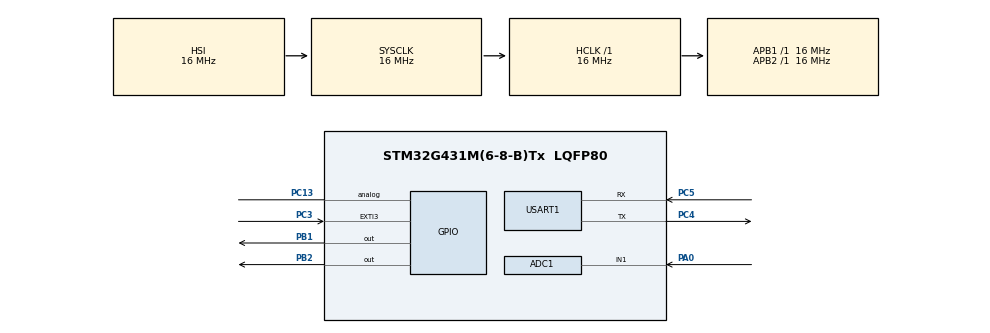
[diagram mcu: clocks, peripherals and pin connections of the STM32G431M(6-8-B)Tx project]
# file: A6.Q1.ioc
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ADC1.Channel-1\#ChannelRegularConversion=ADC_CHANNEL_1
ADC1.NbrOfConversionFlag=1
ADC1.OffsetNumber-1\#ChannelRegularConversion=ADC_OFFSET_NONE
ADC1.Rank-1\#ChannelRegularConversion=1
ADC1.SamplingTime-1\#ChannelRegularConversion=ADC_SAMPLETIME_2CYCLES_5
ADC1.master=1
Mcu.Family=STM32G4
Mcu.Name=STM32G431M(6-8-B)Tx
Mcu.Package=LQFP80
NVIC.PriorityGroup=NVIC_PRIORITYGROUP_4
PA0.Mode=IN1-Single-Ended
PA0.Signal=ADC1_IN1
PA13.Mode=Serial_Wire
PA13.Signal=SYS_JTMS-SWDIO
PA14.Mode=Serial_Wire
PA14.Signal=SYS_JTCK-SWCLK
PB1.PinState=GPIO_PIN_SET
PB1.Signal=GPIO_Output
PB2.PinState=GPIO_PIN_SET
PB2.Signal=GPIO_Output
PC13.Signal=GPIO_Analog
PC3.Signal=GPXTI3
PC4.Mode=Asynchronous
PC4.Signal=USART1_TX
PC5.Mode=Asynchronous
PC5.Signal=USART1_RX
ProjectManager.HeapSize=0x200
ProjectManager.StackSize=0x400
ProjectManager.TargetToolchain=STM32CubeIDE
RCC.AHBFreq_Value=16000000
RCC.APB1Freq_Value=16000000
RCC.APB1TimFreq_Value=16000000
RCC.APB2Freq_Value=16000000
RCC.APB2TimFreq_Value=16000000
RCC.CortexFreq_Value=16000000
RCC.EXTERNAL_CLOCK_VALUE=12288000
RCC.HCLKFreq_Value=16000000
RCC.HSE_VALUE=8000000
RCC.HSI48_VALUE=48000000
RCC.HSI_VALUE=16000000
RCC.LSE_VALUE=32768
RCC.SYSCLKFreq_VALUE=16000000
RCC.USBFreq_Value=64000000
RCC.VCOOutputFreq_Value=128000000
USART1.VirtualMode-Asynchronous=VM_ASYNC
VP_SYS_VS_DBSignals.Mode=DisableDeadBatterySignals
board=custom

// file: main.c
/* USER CODE BEGIN Header */
/**
  ******************************************************************************
  * @file           : main.c
  * @brief          : Main program body
  ******************************************************************************
  * @attention
  *
  * Copyright (c) 2024 STMicroelectronics.
  * All rights reserved.
  *
  * This software is licensed under terms that can be found in the LICENSE file
  * in the root directory of this software component.
  * If no LICENSE file comes with this software, it is provided AS-IS.
  *
  ******************************************************************************
  */
/* USER CODE END Header */
#include "main.h"

ADC_HandleTypeDef hadc1;

UART_HandleTypeDef huart1;

void SystemClock_Config(void);
static void MX_GPIO_Init(void);
static void MX_ADC1_Init(void);
static void MX_USART1_UART_Init(void);

int main(void)
{

  /* MCU Configuration--------------------------------------------------------*/

  /* Reset of all peripherals, Initializes the Flash interface and the Systick. */
  HAL_Init();

  /* Configure the system clock */
  SystemClock_Config();

  /* Initialize all configured peripherals */
  MX_GPIO_Init();
  MX_ADC1_Init();
  MX_USART1_UART_Init();
  /* USER CODE BEGIN 2 */
uint16_t rawDataADC;
uint8_t printBuffer[64];
  /* USER CODE END 2 */

  /* Infinite loop */
  /* USER CODE BEGIN WHILE */
  while (1)
  {
	    HAL_ADC_Start(&hadc1);

	  	HAL_ADC_PollForConversion(&hadc1, 100);

	  	rawDataADC = HAL_ADC_GetValue(&hadc1);

	  	HAL_ADC_Stop(&hadc1);

      	memset(printBuffer,0,sizeof(printBuffer));

	  	sprintf(printBuffer,"\n\rADC Data = %u\n", rawDataADC);

	  	HAL_UART_Transmit(&huart1,(uint8_t *) printBuffer,sizeof(printBuffer), 100);
	  	HAL_Delay(500);

	  	if(rawDataADC < 1000){
	  		HAL_GPIO_WritePin(GPIOB, GPIO_PIN_1, 1);
	  		HAL_GPIO_WritePin(GPIOB, GPIO_PIN_2, 1);
	  	}else if( rawDataADC < 2000){
	  		HAL_GPIO_WritePin(GPIOB, GPIO_PIN_1, 0);
	  		HAL_GPIO_WritePin(GPIOB, GPIO_PIN_2, 1);
	  	}else if( rawDataADC < 3000){
	  		HAL_GPIO_WritePin(GPIOB, GPIO_PIN_1, 1);
	  		HAL_GPIO_WritePin(GPIOB, GPIO_PIN_2, 0);
	  	}else if(rawDataADC > 3000){
	  		HAL_GPIO_WritePin(GPIOB, GPIO_PIN_1, 0);
	  		HAL_GPIO_WritePin(GPIOB, GPIO_PIN_2, 0);
	  	}
    /* USER CODE END WHILE */

  }
}

void SystemClock_Config(void)
{
  RCC_OscInitTypeDef RCC_OscInitStruct = {0};
  RCC_ClkInitTypeDef RCC_ClkInitStruct = {0};

  /** Configure the main internal regulator output voltage
  */
  HAL_PWREx_ControlVoltageScaling(PWR_REGULATOR_VOLTAGE_SCALE1);

  /** Initializes the RCC Oscillators according to the specified parameters
  * in the RCC_OscInitTypeDef structure.
  */
  RCC_OscInitStruct.OscillatorType = RCC_OSCILLATORTYPE_HSI;
  RCC_OscInitStruct.HSIState = RCC_HSI_ON;
  RCC_OscInitStruct.HSICalibrationValue = RCC_HSICALIBRATION_DEFAULT;
  RCC_OscInitStruct.PLL.PLLState = RCC_PLL_NONE;
  if (HAL_RCC_OscConfig(&RCC_OscInitStruct) != HAL_OK)
  {
    Error_Handler();
  }

  /** Initializes the CPU, AHB and APB buses clocks
  */
  RCC_ClkInitStruct.ClockType = RCC_CLOCKTYPE_HCLK|RCC_CLOCKTYPE_SYSCLK
                              |RCC_CLOCKTYPE_PCLK1|RCC_CLOCKTYPE_PCLK2;
  RCC_ClkInitStruct.SYSCLKSource = RCC_SYSCLKSOURCE_HSI;
  RCC_ClkInitStruct.AHBCLKDivider = RCC_SYSCLK_DIV1;
  RCC_ClkInitStruct.APB1CLKDivider = RCC_HCLK_DIV1;
  RCC_ClkInitStruct.APB2CLKDivider = RCC_HCLK_DIV1;

  if (HAL_RCC_ClockConfig(&RCC_ClkInitStruct, FLASH_LATENCY_0) != HAL_OK)
  {
    Error_Handler();
  }
}

static void MX_ADC1_Init(void)
{

  ADC_MultiModeTypeDef multimode = {0};
  ADC_ChannelConfTypeDef sConfig = {0};

  /** Common config
  */
  hadc1.Instance = ADC1;
  hadc1.Init.ClockPrescaler = ADC_CLOCK_SYNC_PCLK_DIV2;
  hadc1.Init.Resolution = ADC_RESOLUTION_12B;
  hadc1.Init.DataAlign = ADC_DATAALIGN_RIGHT;
  hadc1.Init.GainCompensation = 0;
  hadc1.Init.ScanConvMode = ADC_SCAN_DISABLE;
  hadc1.Init.EOCSelection = ADC_EOC_SINGLE_CONV;
  hadc1.Init.LowPowerAutoWait = DISABLE;
  hadc1.Init.ContinuousConvMode = DISABLE;
  hadc1.Init.NbrOfConversion = 1;
  hadc1.Init.DiscontinuousConvMode = DISABLE;
  hadc1.Init.ExternalTrigConv = ADC_SOFTWARE_START;
  hadc1.Init.ExternalTrigConvEdge = ADC_EXTERNALTRIGCONVEDGE_NONE;
  hadc1.Init.DMAContinuousRequests = DISABLE;
  hadc1.Init.Overrun = ADC_OVR_DATA_PRESERVED;
  hadc1.Init.OversamplingMode = DISABLE;
  if (HAL_ADC_Init(&hadc1) != HAL_OK)
  {
    Error_Handler();
  }

  /** Configure the ADC multi-mode
  */
  multimode.Mode = ADC_MODE_INDEPENDENT;
  if (HAL_ADCEx_MultiModeConfigChannel(&hadc1, &multimode) != HAL_OK)
  {
    Error_Handler();
  }

  /** Configure Regular Channel
  */
  sConfig.Channel = ADC_CHANNEL_1;
  sConfig.Rank = ADC_REGULAR_RANK_1;
  sConfig.SamplingTime = ADC_SAMPLETIME_2CYCLES_5;
  sConfig.SingleDiff = ADC_SINGLE_ENDED;
  sConfig.OffsetNumber = ADC_OFFSET_NONE;
  sConfig.Offset = 0;
  if (HAL_ADC_ConfigChannel(&hadc1, &sConfig) != HAL_OK)
  {
    Error_Handler();
  }

}

static void MX_USART1_UART_Init(void)
{

  huart1.Instance = USART1;
  huart1.Init.BaudRate = 115200;
  huart1.Init.WordLength = UART_WORDLENGTH_8B;
  huart1.Init.StopBits = UART_STOPBITS_1;
  huart1.Init.Parity = UART_PARITY_NONE;
  huart1.Init.Mode = UART_MODE_TX_RX;
  huart1.Init.HwFlowCtl = UART_HWCONTROL_NONE;
  huart1.Init.OverSampling = UART_OVERSAMPLING_16;
  huart1.Init.OneBitSampling = UART_ONE_BIT_SAMPLE_DISABLE;
  huart1.Init.ClockPrescaler = UART_PRESCALER_DIV1;
  huart1.AdvancedInit.AdvFeatureInit = UART_ADVFEATURE_NO_INIT;
  if (HAL_UART_Init(&huart1) != HAL_OK)
  {
    Error_Handler();
  }
  if (HAL_UARTEx_SetTxFifoThreshold(&huart1, UART_TXFIFO_THRESHOLD_1_8) != HAL_OK)
  {
    Error_Handler();
  }
  if (HAL_UARTEx_SetRxFifoThreshold(&huart1, UART_RXFIFO_THRESHOLD_1_8) != HAL_OK)
  {
    Error_Handler();
  }
  if (HAL_UARTEx_DisableFifoMode(&huart1) != HAL_OK)
  {
    Error_Handler();
  }

}

static void MX_GPIO_Init(void)
{
  GPIO_InitTypeDef GPIO_InitStruct = {0};

  /* GPIO Ports Clock Enable */
  __HAL_RCC_GPIOC_CLK_ENABLE();
  __HAL_RCC_GPIOA_CLK_ENABLE();
  __HAL_RCC_GPIOB_CLK_ENABLE();

  /*Configure GPIO pin Output Level */
  HAL_GPIO_WritePin(GPIOB, GPIO_PIN_1|GPIO_PIN_2, GPIO_PIN_SET);

  /*Configure GPIO pin : PC13 */
  GPIO_InitStruct.Pin = GPIO_PIN_13;
  GPIO_InitStruct.Mode = GPIO_MODE_ANALOG;
  GPIO_InitStruct.Pull = GPIO_NOPULL;
  HAL_GPIO_Init(GPIOC, &GPIO_InitStruct);

  /*Configure GPIO pin : PC3 */
  GPIO_InitStruct.Pin = GPIO_PIN_3;
  GPIO_InitStruct.Mode = GPIO_MODE_IT_RISING;
  GPIO_InitStruct.Pull = GPIO_NOPULL;
  HAL_GPIO_Init(GPIOC, &GPIO_InitStruct);

  /*Configure GPIO pins : PB1 PB2 */
  GPIO_InitStruct.Pin = GPIO_PIN_1|GPIO_PIN_2;
  GPIO_InitStruct.Mode = GPIO_MODE_OUTPUT_PP;
  GPIO_InitStruct.Pull = GPIO_NOPULL;
  GPIO_InitStruct.Speed = GPIO_SPEED_FREQ_LOW;
  HAL_GPIO_Init(GPIOB, &GPIO_InitStruct);

}

void Error_Handler(void)
{
  __disable_irq();
  while (1)
  {
  }
}
